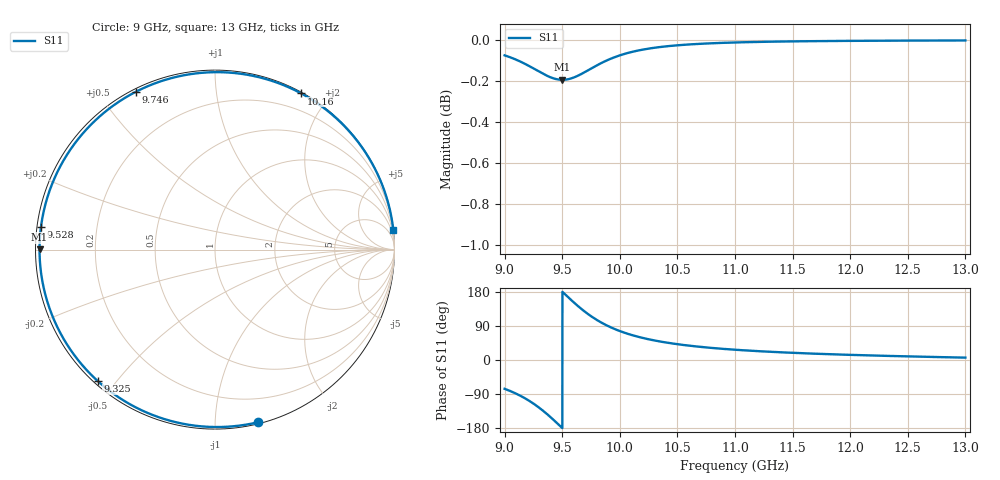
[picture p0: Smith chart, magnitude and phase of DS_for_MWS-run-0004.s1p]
! TOUCHSTONE file generated by CST DESIGN STUDIO
! Date and time: Tue Feb  4 16:02:45 2025
! Project name: C:\Work\MatlabApps\UnitCellOptimizationMatlab\CST\unitcell.cst
! Tree item: Tasks\Sweep1\SPara1\S-Parameters
! Header version: 2024
! Port assignment regex: !\s*Touchstone port\s*([0-9]+)\s*=\s*(CST MWS port|CST DES external port|CST DES block port)\s*(.+)\s* \(\"(.*)\"\)(\s*mode\s*([0-9]+))?.*
! Touchstone port assignment:
! Touchstone port 1 = CST DES external port 1 ("")
# GHz S MA R 50
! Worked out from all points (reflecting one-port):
!   4001 points, 9 GHz to 13 GHz, reference 50 ohm
!   lowest |S11| = -0.2 dB at 9.502 GHz (marker M1), VSWR 88.68, Z = 0.564 + j0.0183 ohm
!   phase of S11 starts at -76 deg and turns -278 deg over the sweep
!   S11 on the Smith chart (normalised r, x): 9 GHz: 0.01, -1.28; 9.325 GHz: 0.01, -0.45; 9.528 GHz: 0.01, +0.07; 9.746 GHz: 0.01, +0.62; 10.16 GHz: 0.01, +1.69; 13 GHz: 0, +18
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9  0.9912 -76.0
9.085  0.9892 -86.7
9.187  0.9861 -102.8
9.259  0.9836 -116.8
9.325  0.9813 -131.8
9.372  0.9798 -143.7
9.421  0.9786 -156.9
9.461  0.9779 -168.2
9.5  0.9777 -179.5
9.502  0.9777 180.0
9.528  0.9778 172.4
9.582  0.9786 157.1
9.642  0.9801 141.0
9.693  0.9818 128.4
9.746  0.9837 116.5
9.798  0.9855 106.2
9.856  0.9874 96.1
9.927  0.9895 85.5
10  0.9912 76.4
10.161  0.9939 61.1
10.315  0.9955 50.7
10.5  0.9968 41.7
10.722  0.9977 34.0
11  0.9984 27.1
11.5  0.999 18.9
12  0.9993 13.5
12.5  0.9994 9.5
13  0.9995 6.3
